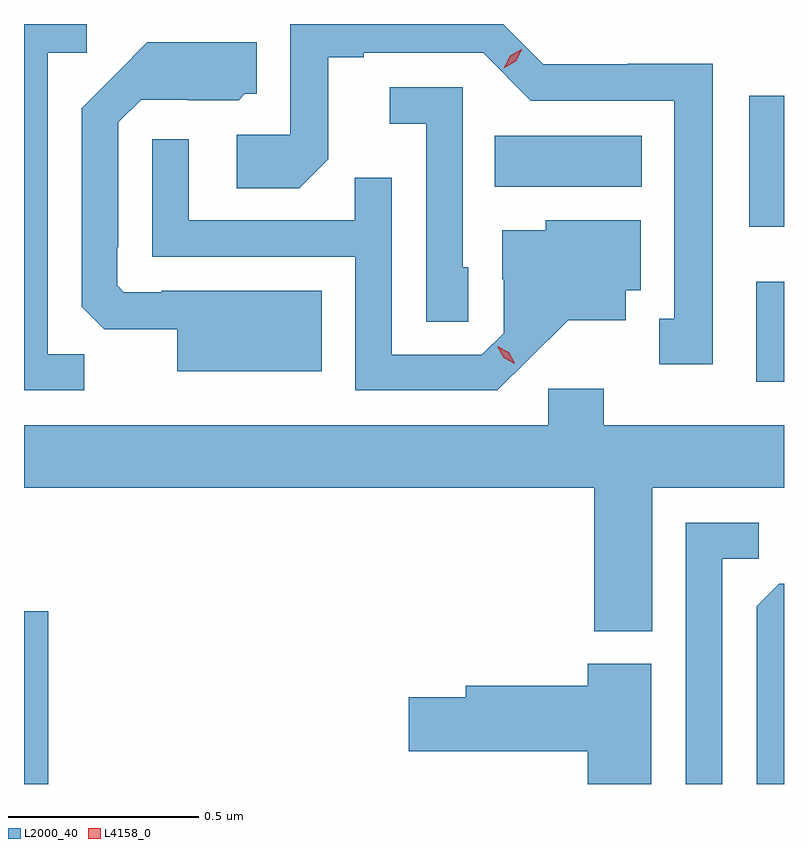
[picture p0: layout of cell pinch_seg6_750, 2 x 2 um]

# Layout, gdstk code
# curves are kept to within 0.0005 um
import gdstk
lib = gdstk.Library(unit=1e-6, precision=1e-09)
def R(c, l, rs):  # rectangles x0, y0, x1, y1
    for r in rs: c.add(gdstk.rectangle(r[:2], r[2:], *l))
def P(c, l, *ps):  # polygons
    for p in ps: c.add(gdstk.Polygon(p, *l))
L2000_40 = (2000, 40)
L4158_0 = (4158, 0)

pinch_seg6_750 = lib.new_cell('pinch_seg6_750')
R(pinch_seg6_750, L2000_40, [(599.443,942.56,599.507,943.015), (601.37,943.619,601.443,943.882), (601.352,944.027,601.443,944.371), (600.682,944.132,601.069,944.266)])
P(pinch_seg6_750, L2000_40, [(599.601,943.691),(599.505,943.691),(599.505,944.484),(599.608,944.484),(599.608,944.56),(599.443,944.56),(599.443,943.596),(599.601,943.596)],
  [(601.255,944.456),(601.032,944.456),(601.032,944.454),(600.81,944.454),(600.704,944.56),(600.144,944.56),(600.144,944.268),(600.003,944.268),(600.003,944.128),(600.167,944.128),(600.243,944.204),(600.243,944.472),(600.337,944.472),(600.337,944.484),(600.651,944.484),(600.777,944.358),(601.154,944.358),(601.154,943.785),(601.115,943.785),(601.115,943.665),(601.255,943.665)],
  [(600.226,943.858),(599.806,943.858),(599.806,943.854),(599.706,943.854),(599.688,943.872),(599.688,943.972),(599.691,943.972),(599.691,944.301),(599.751,944.361),(599.874,944.361),(599.874,944.36),(600.008,944.36),(600.024,944.376),(600.055,944.376),(600.055,944.512),(599.767,944.512),(599.595,944.338),(599.595,943.816),(599.654,943.757),(599.846,943.757),(599.846,943.646),(600.226,943.646)],
  [(600.612,943.92),(600.597,943.92),(600.597,944.394),(600.405,944.394),(600.405,944.297),(600.501,944.297),(600.501,943.777),(600.612,943.777)],
  [(600.772,943.679),(600.875,943.781),(601.027,943.781),(601.027,943.86),(601.066,943.86),(601.066,944.044),(600.816,944.044),(600.816,944.017),(600.701,944.017),(600.701,943.888),(600.705,943.888),(600.705,943.746),(600.648,943.689),(600.411,943.689),(600.411,944.156),(600.313,944.156),(600.313,944.043),(599.877,944.043),(599.877,944.257),(599.781,944.257),(599.781,943.947),(600.315,943.947),(600.315,943.596),(600.688,943.596)],
  [(601.096,943.34),(601.443,943.34),(601.443,943.504),(600.969,943.504),(600.969,943.6),(600.822,943.6),(600.822,943.504),(599.443,943.504),(599.443,943.34),(600.944,943.34),(600.944,942.962),(601.096,942.962)],
  [(601.281,943.153),(601.377,943.153),(601.377,943.248),(601.185,943.248),(601.185,942.56),(601.281,942.56)],
  [(601.443,943.087),(601.43,943.087),(601.371,943.028),(601.371,942.56),(601.443,942.56)],
  [(601.093,942.877),(600.926,942.877),(600.926,942.818),(600.605,942.818),(600.605,942.788),(600.456,942.788),(600.456,942.646),(600.926,942.646),(600.926,942.56),(601.093,942.56)])
P(pinch_seg6_750, L4158_0, [(600.706,944.443),(600.706,944.444),(600.723,944.476),(600.754,944.495),(600.754,944.495),(600.754,944.495),(600.737,944.462),(600.706,944.443)],
  [(600.735,943.666),(600.705,943.682),(600.688,943.712),(600.688,943.712),(600.688,943.712),(600.718,943.696),(600.735,943.667),(600.735,943.666)])

lib.write_gds('pinch_seg6_750.gds')
